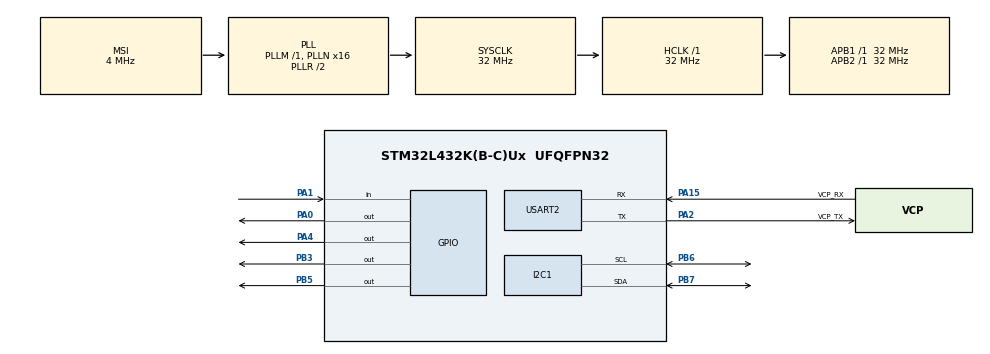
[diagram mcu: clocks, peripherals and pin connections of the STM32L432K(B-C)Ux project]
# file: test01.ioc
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I2C1.Timing=0x00B07CB4
Mcu.Family=STM32L4
Mcu.Name=STM32L432K(B-C)Ux
Mcu.Package=UFQFPN32
NVIC.PriorityGroup=NVIC_PRIORITYGROUP_4
PA0.Signal=GPIO_Output
PA1.Signal=GPIO_Input
PA13\ (JTMS-SWDIO).GPIO_Label=SWDIO
PA13\ (JTMS-SWDIO).Mode=Serial_Wire
PA13\ (JTMS-SWDIO).Signal=SYS_JTMS-SWDIO
PA14\ (JTCK-SWCLK).GPIO_Label=SWCLK
PA14\ (JTCK-SWCLK).Mode=Serial_Wire
PA14\ (JTCK-SWCLK).Signal=SYS_JTCK-SWCLK
PA15\ (JTDI).GPIO_Label=VCP_RX
PA15\ (JTDI).Mode=Asynchronous
PA15\ (JTDI).Signal=USART2_RX
PA2.GPIO_Label=VCP_TX
PA2.Mode=Asynchronous
PA2.Signal=USART2_TX
PA4.Signal=GPIO_Output
PB3\ (JTDO-TRACESWO).Signal=GPIO_Output
PB5.Signal=GPIO_Output
PB6.Mode=I2C
PB6.Signal=I2C1_SCL
PB7.Mode=I2C
PB7.Signal=I2C1_SDA
PC14-OSC32_IN\ (PC14).Mode=LSE-External-Oscillator
PC14-OSC32_IN\ (PC14).Signal=RCC_OSC32_IN
PC15-OSC32_OUT\ (PC15).Mode=LSE-External-Oscillator
PC15-OSC32_OUT\ (PC15).Signal=RCC_OSC32_OUT
ProjectManager.HeapSize=0x200
ProjectManager.StackSize=0x400
ProjectManager.TargetToolchain=CMake
RCC.AHBFreq_Value=32000000
RCC.APB1Freq_Value=32000000
RCC.APB1TimFreq_Value=32000000
RCC.APB2Freq_Value=32000000
RCC.APB2TimFreq_Value=32000000
RCC.CortexFreq_Value=32000000
RCC.HCLKFreq_Value=32000000
RCC.HSE_VALUE=8000000
RCC.HSI16_VALUE=16000000
RCC.HSI48_VALUE=48000000
RCC.HSI_VALUE=16000000
RCC.MSI_VALUE=4000000
RCC.PLLMUL=RCC_PLLMUL_4
RCC.PLLN=16
RCC.SYSCLKFreq_VALUE=32000000
RCC.SYSCLKSource=RCC_SYSCLKSOURCE_PLLCLK
RCC.VCOOutputFreq_Value=64000000
TIM2.Prescaler=79
USART2.VirtualMode-Asynchronous=VM_ASYNC
VP_TIM2_VS_ClockSourceINT.Mode=Internal
board=NUCLEO-L432KC

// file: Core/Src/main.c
/* USER CODE BEGIN Header */
/**
  ******************************************************************************
  * @file           : main.c
  * @brief          : Main program body — Ultrasonic + I2C to ESP32
  ******************************************************************************
  */
/* USER CODE END Header */

#include "main.h"
#include "stm32l4xx_hal_uart.h"

/* USER CODE BEGIN Includes */
#include <stdio.h>
#include <string.h>
/* USER CODE END Includes */

I2C_HandleTypeDef hi2c1;
TIM_HandleTypeDef htim2;
UART_HandleTypeDef huart2;

/* USER CODE BEGIN PV */
char msg[50];
/* USER CODE END PV */

void SystemClock_Config(void);
static void MX_GPIO_Init(void);
static void MX_USART2_UART_Init(void);
static void MX_I2C1_Init(void);
static void MX_TIM2_Init(void);

/* USER CODE BEGIN 0 */

// ===== Ultrasonic Sensor =====
#define TRIG_PORT        GPIOA
#define TRIG_PIN         GPIO_PIN_0
#define ECHO_PORT        GPIOA
#define ECHO_PIN         GPIO_PIN_1
#define ECHO_TIMEOUT_US  38000
#define MAX_DISTANCE_CM  400    // HC-SR04 max range

// ===== I2C to ESP32 =====
#define ESP32_I2C_ADDR   (0x08 << 1)

// ===== Moving Average Filter =====
#define FILTER_SIZE  5
static uint32_t filter_buf[FILTER_SIZE] = {0};
static uint8_t  filter_idx = 0;

// -----------------------------------------------------------------------------

void delay_us(uint32_t us)
{
    uint32_t start = __HAL_TIM_GET_COUNTER(&htim2);
    while ((__HAL_TIM_GET_COUNTER(&htim2) - start) < us);
}

uint32_t Ultrasonic_Read(void)
{
    uint32_t start, stop, t0;

    HAL_GPIO_WritePin(TRIG_PORT, TRIG_PIN, GPIO_PIN_RESET);
    delay_us(2);
    HAL_GPIO_WritePin(TRIG_PORT, TRIG_PIN, GPIO_PIN_SET);
    delay_us(10);
    HAL_GPIO_WritePin(TRIG_PORT, TRIG_PIN, GPIO_PIN_RESET);

    // รอ ECHO ขึ้น HIGH
    t0 = __HAL_TIM_GET_COUNTER(&htim2);
    while (HAL_GPIO_ReadPin(ECHO_PORT, ECHO_PIN) == GPIO_PIN_RESET)
        if ((__HAL_TIM_GET_COUNTER(&htim2) - t0) >= ECHO_TIMEOUT_US) return 0;

    start = __HAL_TIM_GET_COUNTER(&htim2);

    // รอ ECHO ลง LOW
    while (HAL_GPIO_ReadPin(ECHO_PORT, ECHO_PIN) == GPIO_PIN_SET)
        if ((__HAL_TIM_GET_COUNTER(&htim2) - start) >= ECHO_TIMEOUT_US) return 0;

    stop = __HAL_TIM_GET_COUNTER(&htim2);
    return stop - start;
}

uint32_t Filter_Distance(uint32_t new_val)
{
    filter_buf[filter_idx] = new_val;
    filter_idx = (filter_idx + 1) % FILTER_SIZE;

    uint32_t sum = 0;
    for (uint8_t i = 0; i < FILTER_SIZE; i++)
        sum += filter_buf[i];

    return sum / FILTER_SIZE;
}

void I2C_SendDistance(uint32_t distance)
{
    uint8_t buf[4];
    buf[0] = (distance)       & 0xFF;
    buf[1] = (distance >> 8)  & 0xFF;
    buf[2] = (distance >> 16) & 0xFF;
    buf[3] = (distance >> 24) & 0xFF;

    HAL_StatusTypeDef status = HAL_I2C_Master_Transmit(
        &hi2c1, ESP32_I2C_ADDR, buf, 4, 100
    );

    if (status != HAL_OK)
        HAL_UART_Transmit(&huart2, (uint8_t*)"I2C TX Error\r\n", 14, HAL_MAX_DELAY);
}

/* USER CODE END 0 */

int main(void)
{
    HAL_Init();
    SystemClock_Config();

    MX_GPIO_Init();
    MX_USART2_UART_Init();
    MX_I2C1_Init();
    MX_TIM2_Init();

    /* USER CODE BEGIN 2 */
    HAL_TIM_Base_Start(&htim2);
    HAL_UART_Transmit(&huart2, (uint8_t*)"System Ready\r\n", 14, HAL_MAX_DELAY);

    HAL_StatusTypeDef ret = HAL_I2C_IsDeviceReady(&hi2c1, ESP32_I2C_ADDR, 3, 100);
    if (ret == HAL_OK)
        HAL_UART_Transmit(&huart2, (uint8_t*)"ESP32 Found!\r\n", 14, HAL_MAX_DELAY);
    else
        HAL_UART_Transmit(&huart2, (uint8_t*)"ESP32 NOT Found\r\n", 17, HAL_MAX_DELAY);
    /* USER CODE END 2 */

    while (1)
    {
        /* USER CODE BEGIN 3 */
        uint32_t echo_time = Ultrasonic_Read();
        uint32_t distance  = (echo_time == 0) ? 0 : (echo_time / 58);

        // clamp ค่าที่เกิน max range
        if (distance > MAX_DISTANCE_CM) distance = MAX_DISTANCE_CM;

        // moving average filter
        uint32_t filtered = Filter_Distance(distance);

        if (filtered == 0 || filtered > MAX_DISTANCE_CM)
        {
            sprintf(msg, "Distance: OUT OF RANGE\r\n");
            I2C_SendDistance(9999);
        }
        else
        {
            sprintf(msg, "Distance: %lu cm\r\n", filtered);
            I2C_SendDistance(filtered);
        }

        HAL_UART_Transmit(&huart2, (uint8_t*)msg, strlen(msg), HAL_MAX_DELAY);
        HAL_Delay(100);
        /* USER CODE END 3 */
    }
}

void SystemClock_Config(void)
{
    RCC_OscInitTypeDef RCC_OscInitStruct = {0};
    RCC_ClkInitTypeDef RCC_ClkInitStruct = {0};

    if (HAL_PWREx_ControlVoltageScaling(PWR_REGULATOR_VOLTAGE_SCALE1) != HAL_OK)
        Error_Handler();

    HAL_PWR_EnableBkUpAccess();
    __HAL_RCC_LSEDRIVE_CONFIG(RCC_LSEDRIVE_LOW);

    RCC_OscInitStruct.OscillatorType      = RCC_OSCILLATORTYPE_LSE | RCC_OSCILLATORTYPE_MSI;
    RCC_OscInitStruct.LSEState            = RCC_LSE_ON;
    RCC_OscInitStruct.MSIState            = RCC_MSI_ON;
    RCC_OscInitStruct.MSICalibrationValue = 0;
    RCC_OscInitStruct.MSIClockRange       = RCC_MSIRANGE_6;
    RCC_OscInitStruct.PLL.PLLState        = RCC_PLL_ON;
    RCC_OscInitStruct.PLL.PLLSource       = RCC_PLLSOURCE_MSI;
    RCC_OscInitStruct.PLL.PLLM            = 1;
    RCC_OscInitStruct.PLL.PLLN            = 16;
    RCC_OscInitStruct.PLL.PLLP            = RCC_PLLP_DIV7;
    RCC_OscInitStruct.PLL.PLLQ            = RCC_PLLQ_DIV2;
    RCC_OscInitStruct.PLL.PLLR            = RCC_PLLR_DIV2;
    if (HAL_RCC_OscConfig(&RCC_OscInitStruct) != HAL_OK)
        Error_Handler();

    RCC_ClkInitStruct.ClockType      = RCC_CLOCKTYPE_HCLK | RCC_CLOCKTYPE_SYSCLK
                                     | RCC_CLOCKTYPE_PCLK1 | RCC_CLOCKTYPE_PCLK2;
    RCC_ClkInitStruct.SYSCLKSource   = RCC_SYSCLKSOURCE_PLLCLK;
    RCC_ClkInitStruct.AHBCLKDivider  = RCC_SYSCLK_DIV1;
    RCC_ClkInitStruct.APB1CLKDivider = RCC_HCLK_DIV1;
    RCC_ClkInitStruct.APB2CLKDivider = RCC_HCLK_DIV1;
    if (HAL_RCC_ClockConfig(&RCC_ClkInitStruct, FLASH_LATENCY_1) != HAL_OK)
        Error_Handler();

    HAL_RCCEx_EnableMSIPLLMode();
}

static void MX_I2C1_Init(void)
{
    hi2c1.Instance              = I2C1;
    hi2c1.Init.Timing           = 0x00B07CB4;
    hi2c1.Init.OwnAddress1      = 0;
    hi2c1.Init.AddressingMode   = I2C_ADDRESSINGMODE_7BIT;
    hi2c1.Init.DualAddressMode  = I2C_DUALADDRESS_DISABLE;
    hi2c1.Init.OwnAddress2      = 0;
    hi2c1.Init.OwnAddress2Masks = I2C_OA2_NOMASK;
    hi2c1.Init.GeneralCallMode  = I2C_GENERALCALL_DISABLE;
    hi2c1.Init.NoStretchMode    = I2C_NOSTRETCH_DISABLE;
    if (HAL_I2C_Init(&hi2c1) != HAL_OK)
        Error_Handler();
    if (HAL_I2CEx_ConfigAnalogFilter(&hi2c1, I2C_ANALOGFILTER_ENABLE) != HAL_OK)
        Error_Handler();
    if (HAL_I2CEx_ConfigDigitalFilter(&hi2c1, 0) != HAL_OK)
        Error_Handler();
}

static void MX_TIM2_Init(void)
{
    TIM_ClockConfigTypeDef  sClockSourceConfig = {0};
    TIM_MasterConfigTypeDef sMasterConfig      = {0};

    htim2.Instance               = TIM2;
    htim2.Init.Prescaler         = 79;
    htim2.Init.CounterMode       = TIM_COUNTERMODE_UP;
    htim2.Init.Period            = 4294967295;
    htim2.Init.ClockDivision     = TIM_CLOCKDIVISION_DIV1;
    htim2.Init.AutoReloadPreload = TIM_AUTORELOAD_PRELOAD_DISABLE;
    if (HAL_TIM_Base_Init(&htim2) != HAL_OK)
        Error_Handler();

    sClockSourceConfig.ClockSource = TIM_CLOCKSOURCE_INTERNAL;
    if (HAL_TIM_ConfigClockSource(&htim2, &sClockSourceConfig) != HAL_OK)
        Error_Handler();

    sMasterConfig.MasterOutputTrigger = TIM_TRGO_RESET;
    sMasterConfig.MasterSlaveMode     = TIM_MASTERSLAVEMODE_DISABLE;
    if (HAL_TIMEx_MasterConfigSynchronization(&htim2, &sMasterConfig) != HAL_OK)
        Error_Handler();
}

static void MX_USART2_UART_Init(void)
{
    huart2.Instance                    = USART2;
    huart2.Init.BaudRate               = 115200;
    huart2.Init.WordLength             = UART_WORDLENGTH_8B;
    huart2.Init.StopBits               = UART_STOPBITS_1;
    huart2.Init.Parity                 = UART_PARITY_NONE;
    huart2.Init.Mode                   = UART_MODE_TX_RX;
    huart2.Init.HwFlowCtl              = UART_HWCONTROL_NONE;
    huart2.Init.OverSampling           = UART_OVERSAMPLING_16;
    huart2.Init.OneBitSampling         = UART_ONE_BIT_SAMPLE_DISABLE;
    huart2.AdvancedInit.AdvFeatureInit = UART_ADVFEATURE_NO_INIT;
    if (HAL_UART_Init(&huart2) != HAL_OK)
        Error_Handler();
}

static void MX_GPIO_Init(void)
{
    GPIO_InitTypeDef GPIO_InitStruct = {0};

    __HAL_RCC_GPIOC_CLK_ENABLE();
    __HAL_RCC_GPIOA_CLK_ENABLE();
    __HAL_RCC_GPIOB_CLK_ENABLE();

    HAL_GPIO_WritePin(GPIOA, GPIO_PIN_0 | GPIO_PIN_4, GPIO_PIN_RESET);
    HAL_GPIO_WritePin(GPIOB, GPIO_PIN_3 | GPIO_PIN_5, GPIO_PIN_RESET);

    GPIO_InitStruct.Pin   = GPIO_PIN_0 | GPIO_PIN_4;
    GPIO_InitStruct.Mode  = GPIO_MODE_OUTPUT_PP;
    GPIO_InitStruct.Pull  = GPIO_NOPULL;
    GPIO_InitStruct.Speed = GPIO_SPEED_FREQ_LOW;
    HAL_GPIO_Init(GPIOA, &GPIO_InitStruct);

    GPIO_InitStruct.Pin  = GPIO_PIN_1;
    GPIO_InitStruct.Mode = GPIO_MODE_INPUT;
    GPIO_InitStruct.Pull = GPIO_NOPULL;
    HAL_GPIO_Init(GPIOA, &GPIO_InitStruct);

    GPIO_InitStruct.Pin   = GPIO_PIN_3 | GPIO_PIN_5;
    GPIO_InitStruct.Mode  = GPIO_MODE_OUTPUT_PP;
    GPIO_InitStruct.Pull  = GPIO_NOPULL;
    GPIO_InitStruct.Speed = GPIO_SPEED_FREQ_LOW;
    HAL_GPIO_Init(GPIOB, &GPIO_InitStruct);
}

void Error_Handler(void)
{
    __disable_irq();
    while (1) {}
}
